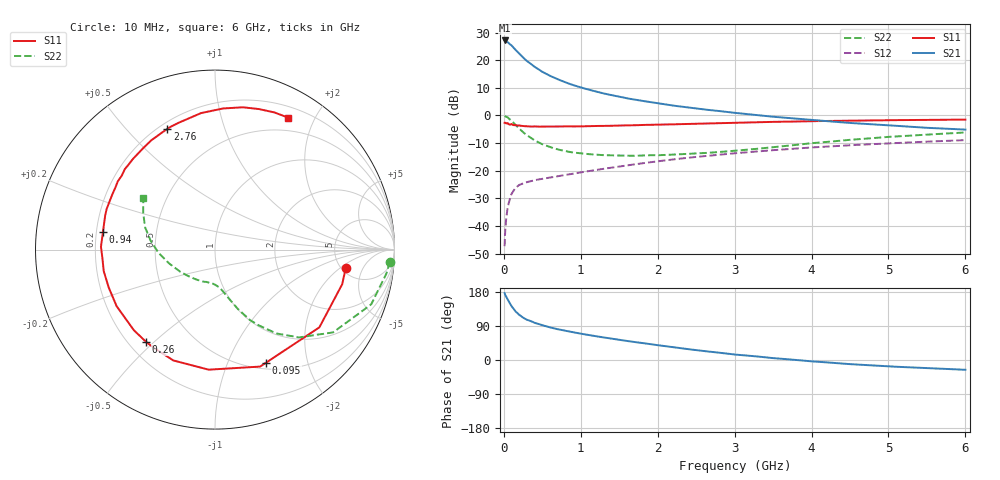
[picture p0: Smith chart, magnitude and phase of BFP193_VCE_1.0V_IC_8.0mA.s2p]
! Infineon Technologies  Discrete & RF Semiconductors
! BFP193
! VCE = 1.0 V,  IC =  8.0 mA
! Common Emitter S-Parameters:  Jan 2016
# GHz  S  MA  R  50
!  f  S11  S21  S12  S22
! GHz  MAG  ANG  MAG  ANG  MAG  ANG  MAG  ANG
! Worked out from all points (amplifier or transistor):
!   210 points, 10 MHz to 6 GHz, reference 50 ohm
!   highest |S21| = 27.1 dB at 10 MHz (marker M1)
!   |S21| within 3 dB of that: start of sweep to 138.6 MHz
!   unconditionally stable (mu >= 1): 1.027 GHz to 3.924 GHz
!   at 185 MHz: K = 0.29, MSG = 24.1 dB, |S12| = -25.5 dB
!   at 1.52 GHz: K = 1.11, MAG = 10.5 dB, |S12| = -18.4 dB
!   at 6 GHz: K = 0.95, MSG = 1.9 dB, |S12| = -8.9 dB
!   S11 on the Smith chart (normalised r, x): 10 MHz: 5.47, -2.41; 95 MHz: 0.57, -1.39; 260 MHz: 0.27, -0.47; 940 MHz: 0.23, +0.07; 2.76 GHz: 0.23, +0.66; 6 GHz: 0.33, +1.65
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0.01  0.7356 -7.9  22.75 176.5  0.0043 86.3  0.9765 -4.0
0.02  0.7346 -15.2  22.27 170.9  0.0091 84.3  0.964 -8.0
0.05  0.7251 -36.7  21.2 159.0  0.0215 72.3  0.9223 -19.3
0.095  0.6912 -65.7  18.71 143.7  0.0363 60.2  0.8124 -33.2
0.1  0.6986 -68.9  18.52 141.8  0.038 59.4  0.8036 -35.0
0.15  0.6699 -93.0  15.5 128.3  0.0484 50.2  0.678 -46.2
0.2  0.6598 -110.6  13.13 119.1  0.0552 44.5  0.5787 -53.8
0.24  0.6448 -121.8  11.53 113.3  0.0582 41.3  0.5127 -58.1
0.26  0.6417 -126.7  10.84 110.6  0.0596 40.2  0.4847 -60.2
0.3  0.6372 -135.2  9.663 106.2  0.062 38.7  0.4379 -63.6
0.4  0.6323 -150.1  7.58 98.1  0.0673 36.8  0.3531 -69.0
0.5  0.6288 -160.5  6.156 91.6  0.0713 36.5  0.3013 -72.6
0.7  0.629 -175.9  4.518 81.2  0.0791 38.2  0.2421 -78.5
0.94  0.6322 171.0  3.405 71.9  0.0904 40.1  0.2102 -83.9
1.02  0.6347 167.3  3.153 68.8  0.0941 40.8  0.2045 -85.7
1.4  0.6495 151.7  2.324 56.5  0.1132 42.5  0.1899 -95.8
2.02  0.6816 131.8  1.639 38.6  0.1489 42.1  0.1908 -114.6
2.76  0.7237 111.5  1.216 20.1  0.1921 37.8  0.2157 -139.7
3.1  0.7395 103.7  1.079 12.8  0.212 34.8  0.2357 -151.1
4.1  0.7906 85.1  0.808 -4.9  0.2681 25.3  0.3225 -178.9
5.1  0.8221 71.4  0.649 -17.8  0.3167 14.8  0.4161 160.2
6  0.8404 61.1  0.554 -25.8  0.3572 4.9  0.4914 144.4
